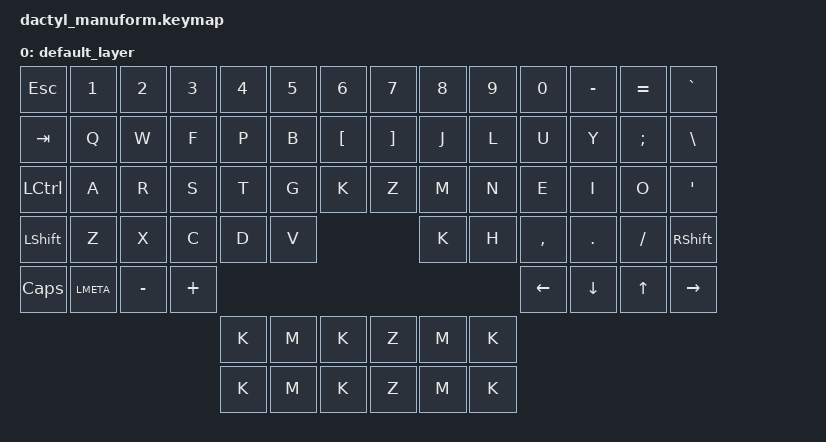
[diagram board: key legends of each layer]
#include <behaviors.dtsi>
#include <dt-bindings/zmk/keys.h>

/ {
    keymap {
        compatible = "zmk,keymap";

        default_layer { // Layer 0
            // -------------------------------------
            // |    ESC    |     1     |     2     |     3     |     4     |     5     |     6     | || |     7     |     8     |     9     |     0     |     -     |     =     |     `     |
            // |    TAB    |     Q     |     W     |     F     |     P     |     B     |     [     | || |     ]     |     J     |     L     |     U     |     Y     |     ;     |     \     |
            // | Left CTRL |     A     |     R     |     S     |     T     |     G     |     K     | || |     Z     |     M     |     N     |     E     |     I     |     O     |     '     |
            // |   L Shift |     Z     |     X     |     C     |     D     |     V     |             ||             |     K     |     H     |     ,     |     .     |     /     |  R Shift  |
            // | Caps Lock | Left Meta |     -     |     +     |                                     ||                                     |     ⭠     |     ⭣     |     ⭡     |     ⭢     |
            //                                                 |     K     |     M     |     K     | || |     Z     |     M     |     K     |                                                
            //                                                 |     K     |     M     |     K     | || |     Z     |     M     |     K     |                                                
            bindings = <
                &kp ESC   &kp N1    &kp N2   &kp N3   &kp N4   &kp N5   &kp N6       &kp N7   &kp N8   &kp N9   &kp N0    &kp MINUS &kp EQUAL &kp GRAVE
                &kp TAB   &kp Q     &kp W    &kp F    &kp P    &kp B    &kp LBKT     &kp RBKT &kp J    &kp L    &kp U     &kp Y     &kp SEMI  &kp BSLH
                &kp LCTRL &kp A     &kp R    &kp S    &kp T    &kp G    &kp K        &kp Z    &kp M    &kp N    &kp E     &kp I     &kp O     &kp SQT
                &kp LSHFT &kp Z     &kp X    &kp C    &kp D    &kp V                          &kp K    &kp H    &kp COMMA &kp DOT   &kp SLASH &kp RSHFT
                &kp CAPS  &kp LMETA &kp -    &kp +                                                              &kp LEFT  &kp DOWN  &kp UP    &kp RIGHT
                                                    &kp K    &kp M    &kp K          &kp Z    &kp M    &kp K                                    
                                                    &kp K    &kp M    &kp K          &kp Z    &kp M    &kp K                                    
            >;
        };
    };
 };
